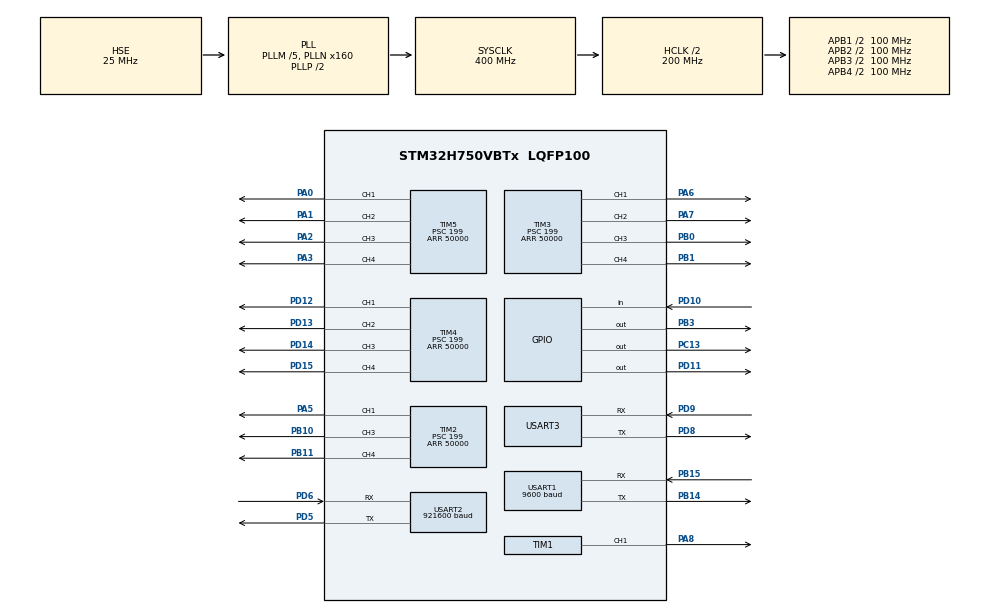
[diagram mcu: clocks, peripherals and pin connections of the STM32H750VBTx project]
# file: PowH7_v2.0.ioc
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VP_TIM5_VS_ClockSourceINT.Mode=Internal
Dma.USART1_TX.1.Polarity=HAL_DMAMUX_REQ_GEN_RISING
VP_SYS_VS_tim6.Mode=TIM6
NVIC.TIM6_DAC_IRQn=true\:0\:0\:false\:false\:true\:false\:false\:true
Dma.USART2_RX.2.SignalID=NONE
NVIC.DMA1_Stream2_IRQn=true\:5\:0\:false\:false\:true\:true\:false\:true
Dma.USART3_RX.3.SyncEnable=DISABLE
RCC.PLLFRACN=0
PA3.GPIO_Speed=GPIO_SPEED_FREQ_HIGH
PB3\ (JTDO/TRACESWO).GPIO_Speed=GPIO_SPEED_FREQ_HIGH
TIM3.Channel-PWM\ Generation4\ CH4=TIM_CHANNEL_4
RCC.SYSCLKSource=RCC_SYSCLKSOURCE_PLLCLK
PB11.GPIO_Speed=GPIO_SPEED_FREQ_HIGH
USART3.VirtualMode-Asynchronous=VM_ASYNC
PD14.GPIO_Speed=GPIO_SPEED_FREQ_HIGH
FREERTOS.configENABLE_FPU=1
PA14\ (JTCK/SWCLK).Signal=DEBUG_JTCK-SWCLK
Dma.USART3_RX.3.PeriphDataAlignment=DMA_PDATAALIGN_BYTE
TIM2.Pulse-PWM\ Generation3\ CH3=1500
TIM4.Pulse-PWM\ Generation1\ CH1=1500
Dma.USART2_RX.2.Priority=DMA_PRIORITY_LOW
PD8.Signal=USART3_TX
TIM5.Pulse-PWM\ Generation1\ CH1=1500
TIM3.Pulse-PWM\ Generation3\ CH3=1500
TIM4.Channel-PWM\ Generation3\ CH3=TIM_CHANNEL_3
RCC.DIVM3=25
RCC.DIVM1=5
Dma.USART2_RX.2.EventEnable=DISABLE
TIM1.Channel-PWM\ Generation1\ CH1=TIM_CHANNEL_1
PB1.GPIO_Speed=GPIO_SPEED_FREQ_HIGH
PB14.Mode=Asynchronous
PA5.GPIO_PuPd=GPIO_NOPULL
Dma.USART1_RX.0.SyncEnable=DISABLE
SH.S_TIM4_CH2.0=TIM4_CH2,PWM Generation2 CH2
Dma.USART3_RX.3.PeriphInc=DMA_PINC_DISABLE
PA8.Signal=S_TIM1_CH1
PA14\ (JTCK/SWCLK).Mode=Serial_Wire
TIM4.Period=50000
VP_FREERTOS_VS_CMSIS_V1.Mode=CMSIS_V1
Dma.USART3_TX.4.Direction=DMA_MEMORY_TO_PERIPH
VP_TIM1_VS_ClockSourceINT.Mode=Internal
PA0.Signal=S_TIM5_CH1
Mcu.Package=LQFP100
TIM2.Prescaler=199
PB1.Signal=S_TIM3_CH4
NVIC.TimeBase=TIM6_DAC_IRQn
RCC.PLL3FRACN=0
PD12.Signal=S_TIM4_CH1
NVIC.TimeBaseIP=TIM6
Dma.USART2_RX.2.Direction=DMA_PERIPH_TO_MEMORY
Dma.USART3_RX.3.MemInc=DMA_MINC_ENABLE
PC14-OSC32_IN\ (OSC32_IN).Mode=LSE-External-Oscillator
SH.S_TIM4_CH1.0=TIM4_CH1,PWM Generation1 CH1
RCC.APB4Freq_Value=100000000
TIM3.Pulse-PWM\ Generation2\ CH2=1500
TIM1.Period=50000
PA6.GPIO_Speed=GPIO_SPEED_FREQ_HIGH
NVIC.USART1_IRQn=true\:5\:0\:false\:false\:true\:true\:true\:true
TIM4.Channel-PWM\ Generation4\ CH4=TIM_CHANNEL_4
PH0-OSC_IN\ (PH0).Mode=HSE-External-Oscillator
PA8.GPIO_Speed=GPIO_SPEED_FREQ_HIGH
PD15.Signal=S_TIM4_CH4
TIM4.Pulse-PWM\ Generation2\ CH2=1500
Dma.USART3_TX.4.PeriphInc=DMA_PINC_DISABLE
Dma.USART3_TX.4.RequestNumber=1
TIM4.Pulse-PWM\ Generation3\ CH3=1500
TIM5.Pulse-PWM\ Generation2\ CH2=1500
FREERTOS.Tasks01=CtrlTask,0,128,CtrlTaskF,Default,NULL,Dynamic,NULL,NULL;SensorTask,0,128,SensorTaskF,Default,NULL,Dynamic,NULL,NULL;BasetoUpTask,0,128,BtUF,Default,NULL,Dynamic,NULL,NULL;EmptyTask,-3,128,EmptyTaskF,Default,NULL,Dynamic,NULL,NULL
Dma.USART3_TX.4.MemInc=DMA_MINC_ENABLE
PC13.Signal=GPIO_Output
TIM5.Channel-PWM\ Generation3\ CH3=TIM_CHANNEL_3
PD6.Mode=Asynchronous
USART2.BaudRate=921600
Dma.USART2_RX.2.Mode=DMA_NORMAL
Dma.USART1_TX.1.SyncSignalID=NONE
PA0.GPIO_Speed=GPIO_SPEED_FREQ_HIGH
PD10.Signal=GPIO_Input
TIM3.Channel-PWM\ Generation3\ CH3=TIM_CHANNEL_3
TIM3.Pulse-PWM\ Generation1\ CH1=1500
Dma.USART3_RX.3.SyncRequestNumber=1
Dma.USART1_RX.0.SyncRequestNumber=1
Dma.USART1_RX.0.Direction=DMA_PERIPH_TO_MEMORY
Dma.USART3_RX.3.FIFOMode=DMA_FIFOMODE_DISABLE
RCC.DIVN3=192
RCC.DIVN1=160
Dma.USART1_TX.1.SyncEnable=DISABLE
PD8.Mode=Asynchronous
Dma.USART1_RX.0.PeriphInc=DMA_PINC_DISABLE
PB10.Signal=S_TIM2_CH3
PB14.Signal=USART1_TX
PA5.Signal=S_TIM2_CH1
Dma.USART1_TX.1.MemDataAlignment=DMA_MDATAALIGN_BYTE
PA7.GPIO_Speed=GPIO_SPEED_FREQ_HIGH
TIM4.Pulse-PWM\ Generation4\ CH4=1500
Dma.USART1_RX.0.SyncPolarity=HAL_DMAMUX_SYNC_NO_EVENT
TIM2.Period=50000
Dma.USART1_RX.0.SyncSignalID=NONE
TIM5.Channel-PWM\ Generation2\ CH2=TIM_CHANNEL_2
PD11.Signal=GPIO_Output
Dma.USART1_TX.1.Mode=DMA_NORMAL
TIM5.Channel-PWM\ Generation1\ CH1=TIM_CHANNEL_1
ProjectManager.HeapSize=0x200
VP_TIM4_VS_ClockSourceINT.Mode=Internal
FREERTOS.Mutexes01=UptoBaseDataRWFlag,Dynamic,NULL;BasetoUpDataRWFlag,Dynamic,NULL;WT931SensorDataRWFlag,Dynamic,NULL;GY39SensorDataRWFlag,Dynamic,NULL
NVIC.PriorityGroup=NVIC_PRIORITYGROUP_4
RCC.USART234578CLockSelection=RCC_USART234578CLKSOURCE_PLL3
TIM3.Channel-PWM\ Generation2\ CH2=TIM_CHANNEL_2
TIM2.Pulse-PWM\ Generation4\ CH4=1500
Dma.USART2_RX.2.SyncEnable=DISABLE
PB0.Signal=S_TIM3_CH3
PA13\ (JTMS/SWDIO).Signal=DEBUG_JTMS-SWDIO
Dma.USART2_RX.2.RequestNumber=1
Mcu.Family=STM32H7
NVIC.USART3_IRQn=true\:5\:0\:false\:false\:true\:true\:true\:true
Dma.USART2_RX.2.PeriphDataAlignment=DMA_PDATAALIGN_BYTE
Dma.USART3_TX.4.SignalID=NONE
RCC.CortexFreq_Value=400000000
FREERTOS.BinarySemaphores01=UptoBaseTransFinish,Dynamic,NULL;WT931TransFinish,Dynamic,NULL;GY39TransFinish,Dynamic,NULL
Dma.USART3_TX.4.Priority=DMA_PRIORITY_LOW
PB10.GPIO_Speed=GPIO_SPEED_FREQ_HIGH
Dma.USART1_TX.1.MemInc=DMA_MINC_ENABLE
Dma.USART1_TX.1.SyncPolarity=HAL_DMAMUX_SYNC_NO_EVENT
RCC.HPRE=RCC_HCLK_DIV2
Dma.USART1_RX.0.EventEnable=DISABLE
PH0-OSC_IN\ (PH0).Signal=RCC_OSC_IN
Dma.USART2_RX.2.SyncSignalID=NONE
USART1.BaudRate=9600
PD15.GPIO_Speed=GPIO_SPEED_FREQ_HIGH
PC15-OSC32_OUT\ (OSC32_OUT).Mode=LSE-External-Oscillator
Dma.USART1_RX.0.SignalID=NONE
SH.S_TIM5_CH2.0=TIM5_CH2,PWM Generation2 CH2
PA2.GPIO_Speed=GPIO_SPEED_FREQ_HIGH
TIM5.Pulse-PWM\ Generation4\ CH4=1500
RCC.PLL2FRACN=0
TIM1.Pulse-PWM\ Generation1\ CH1=1500
PB11.Signal=S_TIM2_CH4
NVIC.DMA1_Stream4_IRQn=true\:5\:0\:false\:false\:true\:true\:false\:true
PB15.Signal=USART1_RX
PD9.Mode=Asynchronous
Dma.USART3_RX.3.Mode=DMA_NORMAL
ProjectManager.StackSize=0x400
Dma.USART3_RX.3.MemDataAlignment=DMA_MDATAALIGN_BYTE
VP_TIM7_VS_ClockSourceINT.Mode=Enable_Timer
PD13.Signal=S_TIM4_CH2
TIM1.Prescaler=199
RCC.HCLKFreq_Value=200000000
TIM3.Period=50000
Dma.USART3_TX.4.MemDataAlignment=DMA_MDATAALIGN_BYTE
SH.S_TIM5_CH3.0=TIM5_CH3,PWM Generation3 CH3
TIM7.Period=50000
Dma.USART2_RX.2.MemDataAlignment=DMA_MDATAALIGN_BYTE
Dma.USART1_RX.0.Priority=DMA_PRIORITY_LOW
PD5.Mode=Asynchronous
TIM3.Channel-PWM\ Generation1\ CH1=TIM_CHANNEL_1
Dma.USART3_TX.4.EventEnable=DISABLE
PH1-OSC_OUT\ (PH1).Mode=HSE-External-Oscillator
Dma.USART3_RX.3.Instance=DMA1_Stream3
USART2.VirtualMode-Asynchronous=VM_ASYNC
VP_IWDG1_VS_IWDG.Mode=IWDG_Activate
Dma.USART3_RX.3.Polarity=HAL_DMAMUX_REQ_GEN_RISING
TIM5.Channel-PWM\ Generation4\ CH4=TIM_CHANNEL_4
TIM3.Prescaler=199
TIM5.Pulse-PWM\ Generation3\ CH3=1500
PC13.GPIO_PuPd=GPIO_PULLUP
TIM2.Channel-PWM\ Generation1\ CH1=TIM_CHANNEL_1
SH.S_TIM3_CH1.0=TIM3_CH1,PWM Generation1 CH1
Dma.USART1_RX.0.MemInc=DMA_MINC_ENABLE
Dma.USART1_TX.1.PeriphDataAlignment=DMA_PDATAALIGN_BYTE
PB3\ (JTDO/TRACESWO).GPIO_PuPd=GPIO_NOPULL
RCC.APB3Freq_Value=100000000
Dma.USART1_TX.1.RequestNumber=1
PA6.Signal=S_TIM3_CH1
RCC.D1PPRE=RCC_APB3_DIV2
Dma.USART3_RX.3.SyncSignalID=NONE
Dma.USART2_RX.2.Polarity=HAL_DMAMUX_REQ_GEN_RISING
Dma.USART3_TX.4.Instance=DMA1_Stream4
Dma.USART1_TX.1.SignalID=NONE
Dma.USART1_RX.0.FIFOMode=DMA_FIFOMODE_DISABLE
Dma.Request2=USART2_RX
Dma.Request1=USART1_TX
Dma.Request4=USART3_TX
Dma.Request3=USART3_RX
Dma.USART1_RX.0.Mode=DMA_NORMAL
SH.S_TIM5_CH1.0=TIM5_CH1,PWM Generation1 CH1
Dma.USART1_TX.1.Priority=DMA_PRIORITY_LOW
NVIC.DMA1_Stream0_IRQn=true\:5\:0\:false\:false\:true\:true\:false\:true
Dma.USART3_TX.4.SyncEnable=DISABLE
PD6.Signal=USART2_RX
Dma.Request0=USART1_RX
Dma.USART1_RX.0.Instance=DMA1_Stream0
VP_TIM3_VS_ClockSourceINT.Mode=Internal
PC13.PinState=GPIO_PIN_RESET
PA3.Signal=S_TIM5_CH4
Dma.USART1_TX.1.Direction=DMA_MEMORY_TO_PERIPH
Dma.USART3_TX.4.FIFOMode=DMA_FIFOMODE_DISABLE
RCC.PLLSourceVirtual=RCC_PLLSOURCE_HSE
TIM4.Channel-PWM\ Generation1\ CH1=TIM_CHANNEL_1
Dma.USART1_TX.1.Instance=DMA1_Stream1
Dma.USART3_RX.3.Direction=DMA_PERIPH_TO_MEMORY
TIM2.Channel-PWM\ Generation4\ CH4=TIM_CHANNEL_4
SH.S_TIM2_CH1.0=TIM2_CH1,PWM Generation1 CH1
CORTEX_M7.CPU_ICache=Disabled
PD12.GPIO_Speed=GPIO_SPEED_FREQ_HIGH
PA13\ (JTMS/SWDIO).Mode=Serial_Wire
Dma.USART1_RX.0.PeriphDataAlignment=DMA_PDATAALIGN_BYTE
Dma.USART3_RX.3.SyncPolarity=HAL_DMAMUX_SYNC_NO_EVENT
SH.S_TIM4_CH4.0=TIM4_CH4,PWM Generation4 CH4
RCC.D2PPRE2=RCC_APB2_DIV2
RCC.D2PPRE1=RCC_APB1_DIV2
PD9.Signal=USART3_RX
PD5.Signal=USART2_TX
NVIC.DMA1_Stream1_IRQn=true\:5\:0\:false\:false\:true\:true\:false\:true
SH.S_TIM3_CH3.0=TIM3_CH3,PWM Generation3 CH3
Dma.USART1_RX.0.RequestNumber=1
Dma.USART1_RX.0.Polarity=HAL_DMAMUX_REQ_GEN_RISING
NVIC.USART2_IRQn=true\:5\:0\:false\:false\:true\:true\:true\:true
PH1-OSC_OUT\ (PH1).Signal=RCC_OSC_OUT
TIM2.Pulse-PWM\ Generation1\ CH1=1500
PB0.GPIO_Speed=GPIO_SPEED_FREQ_HIGH
Dma.USART2_RX.2.SyncPolarity=HAL_DMAMUX_SYNC_NO_EVENT
USART1.VirtualMode-Asynchronous=VM_ASYNC
Dma.USART2_RX.2.MemInc=DMA_MINC_ENABLE
SH.S_TIM1_CH1.0=TIM1_CH1,PWM Generation1 CH1
PB3\ (JTDO/TRACESWO).Signal=GPIO_Output
ProjectManager.TargetToolchain=STM32CubeIDE
PC15-OSC32_OUT\ (OSC32_OUT).Signal=RCC_OSC32_OUT
SH.S_TIM4_CH3.0=TIM4_CH3,PWM Generation3 CH3
Dma.USART1_TX.1.FIFOMode=DMA_FIFOMODE_DISABLE
RCC.USBFreq_Value=400000000
Dma.USART3_RX.3.EventEnable=DISABLE
TIM4.Prescaler=199
PA1.Signal=S_TIM5_CH2
SH.S_TIM3_CH2.0=TIM3_CH2,PWM Generation2 CH2
Dma.USART3_TX.4.PeriphDataAlignment=DMA_PDATAALIGN_BYTE
TIM7.Prescaler=399
board=custom
PD13.GPIO_Speed=GPIO_SPEED_FREQ_HIGH
PB15.Mode=Asynchronous
Dma.USART3_TX.4.SyncPolarity=HAL_DMAMUX_SYNC_NO_EVENT
Dma.USART2_RX.2.PeriphInc=DMA_PINC_DISABLE
TIM4.Channel-PWM\ Generation2\ CH2=TIM_CHANNEL_2
RCC.APB2Freq_Value=100000000
VP_TIM2_VS_ClockSourceINT.Mode=Internal
SH.S_TIM2_CH3.0=TIM2_CH3,PWM Generation3 CH3
PA1.GPIO_Speed=GPIO_SPEED_FREQ_HIGH
RCC.ADCFreq_Value=50390625
TIM2.Channel-PWM\ Generation3\ CH3=TIM_CHANNEL_3
Dma.USART3_RX.3.RequestNumber=1
Dma.USART1_RX.0.MemDataAlignment=DMA_MDATAALIGN_BYTE
SH.S_TIM5_CH4.0=TIM5_CH4,PWM Generation4 CH4
Dma.USART1_TX.1.SyncRequestNumber=1
Dma.USART2_RX.2.SyncRequestNumber=1
Mcu.Name=STM32H750VBTx
Dma.USART3_TX.4.SyncRequestNumber=1
PA2.Signal=S_TIM5_CH3
PD14.Signal=S_TIM4_CH3
RCC.SYSCLKFreq_VALUE=400000000
Dma.USART3_TX.4.Mode=DMA_NORMAL
TIM5.Prescaler=199
PC14-OSC32_IN\ (OSC32_IN).Signal=RCC_OSC32_IN
Dma.USART2_RX.2.Instance=DMA1_Stream2
Dma.USART3_TX.4.SyncSignalID=NONE
Dma.USART3_RX.3.SignalID=NONE
Dma.USART1_TX.1.PeriphInc=DMA_PINC_DISABLE
SH.S_TIM2_CH4.0=TIM2_CH4,PWM Generation4 CH4
PA5.GPIO_Speed=GPIO_SPEED_FREQ_HIGH
Dma.USART3_TX.4.Polarity=HAL_DMAMUX_REQ_GEN_RISING
Dma.USART1_TX.1.EventEnable=DISABLE
Dma.USART3_RX.3.Priority=DMA_PRIORITY_LOW
NVIC.DMA1_Stream3_IRQn=true\:5\:0\:false\:false\:true\:true\:false\:true
RCC.D3PPRE=RCC_APB4_DIV2
TIM5.Period=50000
Dma.USART2_RX.2.FIFOMode=DMA_FIFOMODE_DISABLE
RCC.APB1Freq_Value=100000000
TIM3.Pulse-PWM\ Generation4\ CH4=1500
RCC.USART16CLockSelection=RCC_USART16CLKSOURCE_PLL3
SH.S_TIM3_CH4.0=TIM3_CH4,PWM Generation4 CH4
PA7.Signal=S_TIM3_CH2

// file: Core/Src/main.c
/* USER CODE BEGIN Header */
/**
 ******************************************************************************
 * @file           : main.c
 * @brief          : Main program body
 ******************************************************************************
 * @attention
 *
 * <h2><center>&copy; Copyright (c) 2021 STMicroelectronics.
 * All rights reserved.</center></h2>
 *
 * This software component is licensed by ST under BSD 3-Clause license,
 * the "License"; You may not use this file except in compliance with the
 * License. You may obtain a copy of the License at:
 *                        opensource.org/licenses/BSD-3-Clause
 *
 ******************************************************************************
 */
/* USER CODE END Header */
#include "main.h"
#include "cmsis_os.h"

/* USER CODE BEGIN Includes */
#include "BasicCtrl.h"
#include "Sensor.h"
/* USER CODE END Includes */

IWDG_HandleTypeDef hiwdg1;

TIM_HandleTypeDef htim1;
TIM_HandleTypeDef htim2;
TIM_HandleTypeDef htim3;
TIM_HandleTypeDef htim4;
TIM_HandleTypeDef htim5;
TIM_HandleTypeDef htim7;

UART_HandleTypeDef huart1;
UART_HandleTypeDef huart2;
UART_HandleTypeDef huart3;
DMA_HandleTypeDef hdma_usart1_rx;
DMA_HandleTypeDef hdma_usart1_tx;
DMA_HandleTypeDef hdma_usart2_rx;
DMA_HandleTypeDef hdma_usart3_rx;
DMA_HandleTypeDef hdma_usart3_tx;

osThreadId CtrlTaskHandle;
osThreadId SensorTaskHandle;
osThreadId BasetoUpTaskHandle;
osThreadId EmptyTaskHandle;
osMutexId UptoBaseDataRWFlagHandle;
osMutexId BasetoUpDataRWFlagHandle;
osMutexId WT931SensorDataRWFlagHandle;
osMutexId GY39SensorDataRWFlagHandle;
osSemaphoreId UptoBaseTransFinishHandle;
osSemaphoreId WT931TransFinishHandle;
osSemaphoreId GY39TransFinishHandle;
/* USER CODE BEGIN PV */
WT931Data WT931SensorData;
GY39Data GY39SensorData;
/* USER CODE END PV */

void SystemClock_Config(void);
void PeriphCommonClock_Config(void);
static void MX_GPIO_Init(void);
static void MX_DMA_Init(void);
static void MX_IWDG1_Init(void);
static void MX_TIM2_Init(void);
static void MX_TIM3_Init(void);
static void MX_TIM4_Init(void);
static void MX_TIM5_Init(void);
static void MX_USART1_UART_Init(void);
static void MX_USART2_UART_Init(void);
static void MX_USART3_UART_Init(void);
static void MX_TIM1_Init(void);
static void MX_TIM7_Init(void);
void CtrlTaskF(void const *argument);
void SensorTaskF(void const *argument);
void BtUF(void const *argument);
void EmptyTaskF(void const *argument);

/* USER CODE BEGIN PFP */
//void MotorAdjusterDelay(void);
///**
// * 软件PWM，可用于控制灯光PB3
// * 只开启时基单元即�????????
// * 频率�????????1kHz
// */
//void SoftwarePwm_Init(TIM_HandleTypeDef *htimx, uint16_t psr, uint16_t arr)
//{
//	/* 设置定时�???????? */
//	/* 调节定时器分频系数和预装载寄存器�???????? */
////	htimx->Instance->PSC = psr;
////	htimx->Instance->ARR = arr;
//	/* 设置软件比较�???????? */
//	SoftwarePwm_Control();
//
//	/* �????????启定时器及中�???????? */
////	HAL_TIM_PWM_Start();
//}
/**
 *	在主程序中轮询本函数来实现PWM输出
 */
void SoftwarePwm_Control(volatile uint32_t count)
{
	/* 判断计时值和设定阈�?�的大小 */
	if (htim7.Instance->CNT > count)
	{
		/* GPIO有输�???????? */
		HAL_GPIO_WritePin(GPIOB, GPIO_PIN_3, GPIO_PIN_SET);
	}
	else
	{
		/* GPIO无输�???????? */
		HAL_GPIO_WritePin(GPIOB, GPIO_PIN_3, GPIO_PIN_RESET);
	}
}
/* USER CODE END PFP */

int main(void)
{

	/* MCU Configuration--------------------------------------------------------*/

	/* Reset of all peripherals, Initializes the Flash interface and the Systick. */
	HAL_Init();

	/* Configure the system clock */
	SystemClock_Config();

	/* Configure the peripherals common clocks */
	PeriphCommonClock_Config();

	/* Initialize all configured peripherals */
	MX_GPIO_Init();
	MX_DMA_Init();
	MX_IWDG1_Init();
	MX_TIM2_Init();
	MX_TIM3_Init();
	MX_TIM4_Init();
	MX_TIM5_Init();
	MX_USART1_UART_Init();
	MX_USART2_UART_Init();
	MX_USART3_UART_Init();
	MX_TIM1_Init();
	MX_TIM7_Init();
	/* USER CODE BEGIN 2 */
	HAL_IWDG_Refresh(&hiwdg1);
	//继电器初始化
	HAL_GPIO_WritePin(GPIOD, GPIO_PIN_11, GPIO_PIN_RESET);
	//PWM初始�?????????????
	HAL_TIM_PWM_Start(&htim1, TIM_CHANNEL_1);
	HAL_TIM_PWM_Start(&htim2, TIM_CHANNEL_1);
//	HAL_TIM_PWM_Start(&htim2, TIM_CHANNEL_2);
	__HAL_TIM_ENABLE(&htim7);
	HAL_GPIO_WritePin(GPIOB, GPIO_PIN_3, GPIO_PIN_RESET);

	HAL_TIM_PWM_Start(&htim2, TIM_CHANNEL_3);
	HAL_TIM_PWM_Start(&htim2, TIM_CHANNEL_4);
	HAL_TIM_PWM_Start(&htim3, TIM_CHANNEL_1);
	HAL_TIM_PWM_Start(&htim3, TIM_CHANNEL_2);
	HAL_TIM_PWM_Start(&htim3, TIM_CHANNEL_3);
	HAL_TIM_PWM_Start(&htim3, TIM_CHANNEL_4);
	HAL_TIM_PWM_Start(&htim4, TIM_CHANNEL_1);
	HAL_TIM_PWM_Start(&htim4, TIM_CHANNEL_2);
	HAL_TIM_PWM_Start(&htim4, TIM_CHANNEL_3);
	HAL_TIM_PWM_Start(&htim4, TIM_CHANNEL_4);
	HAL_TIM_PWM_Start(&htim5, TIM_CHANNEL_1);
	HAL_TIM_PWM_Start(&htim5, TIM_CHANNEL_2);
	HAL_TIM_PWM_Start(&htim5, TIM_CHANNEL_3);
	HAL_TIM_PWM_Start(&htim5, TIM_CHANNEL_4);

	HAL_IWDG_Refresh(&hiwdg1);
	/* USER CODE END 2 */

	/* Create the mutex(es) */
	/* definition and creation of UptoBaseDataRWFlag */
	osMutexDef(UptoBaseDataRWFlag);
	UptoBaseDataRWFlagHandle = osMutexCreate(osMutex(UptoBaseDataRWFlag));

	/* definition and creation of BasetoUpDataRWFlag */
	osMutexDef(BasetoUpDataRWFlag);
	BasetoUpDataRWFlagHandle = osMutexCreate(osMutex(BasetoUpDataRWFlag));

	/* definition and creation of WT931SensorDataRWFlag */
	osMutexDef(WT931SensorDataRWFlag);
	WT931SensorDataRWFlagHandle = osMutexCreate(osMutex(WT931SensorDataRWFlag));

	/* definition and creation of GY39SensorDataRWFlag */
	osMutexDef(GY39SensorDataRWFlag);
	GY39SensorDataRWFlagHandle = osMutexCreate(osMutex(GY39SensorDataRWFlag));

	/* Create the semaphores(s) */
	/* definition and creation of UptoBaseTransFinish */
	osSemaphoreDef(UptoBaseTransFinish);
	UptoBaseTransFinishHandle = osSemaphoreCreate(
			osSemaphore(UptoBaseTransFinish), 1);

	/* definition and creation of WT931TransFinish */
	osSemaphoreDef(WT931TransFinish);
	WT931TransFinishHandle = osSemaphoreCreate(osSemaphore(WT931TransFinish),
			1);

	/* definition and creation of GY39TransFinish */
	osSemaphoreDef(GY39TransFinish);
	GY39TransFinishHandle = osSemaphoreCreate(osSemaphore(GY39TransFinish), 1);

	/* Create the thread(s) */
	/* definition and creation of CtrlTask */
	osThreadDef(CtrlTask, CtrlTaskF, osPriorityNormal, 0, 128);
	CtrlTaskHandle = osThreadCreate(osThread(CtrlTask), NULL);

	/* definition and creation of SensorTask */
	osThreadDef(SensorTask, SensorTaskF, osPriorityNormal, 0, 128);
	SensorTaskHandle = osThreadCreate(osThread(SensorTask), NULL);

	/* definition and creation of BasetoUpTask */
	osThreadDef(BasetoUpTask, BtUF, osPriorityNormal, 0, 128);
	BasetoUpTaskHandle = osThreadCreate(osThread(BasetoUpTask), NULL);

	/* definition and creation of EmptyTask */
	osThreadDef(EmptyTask, EmptyTaskF, osPriorityIdle, 0, 128);
	EmptyTaskHandle = osThreadCreate(osThread(EmptyTask), NULL);

	/* Start scheduler */
	osKernelStart();

	/* We should never get here as control is now taken by the scheduler */
	/* Infinite loop */
	while (1)
	{

	}
}

void SystemClock_Config(void)
{
	RCC_OscInitTypeDef RCC_OscInitStruct =
	{ 0 };
	RCC_ClkInitTypeDef RCC_ClkInitStruct =
	{ 0 };

	/** Supply configuration update enable
	 */
	HAL_PWREx_ConfigSupply(PWR_LDO_SUPPLY);
	/** Configure the main internal regulator output voltage
	 */
	__HAL_PWR_VOLTAGESCALING_CONFIG(PWR_REGULATOR_VOLTAGE_SCALE1);

	while (!__HAL_PWR_GET_FLAG(PWR_FLAG_VOSRDY))
	{
	}
	/** Macro to configure the PLL clock source
	 */
	__HAL_RCC_PLL_PLLSOURCE_CONFIG(RCC_PLLSOURCE_HSE);
	/** Initializes the RCC Oscillators according to the specified parameters
	 * in the RCC_OscInitTypeDef structure.
	 */
	RCC_OscInitStruct.OscillatorType = RCC_OSCILLATORTYPE_LSI
			| RCC_OSCILLATORTYPE_HSE;
	RCC_OscInitStruct.HSEState = RCC_HSE_ON;
	RCC_OscInitStruct.LSIState = RCC_LSI_ON;
	RCC_OscInitStruct.PLL.PLLState = RCC_PLL_ON;
	RCC_OscInitStruct.PLL.PLLSource = RCC_PLLSOURCE_HSE;
	RCC_OscInitStruct.PLL.PLLM = 5;
	RCC_OscInitStruct.PLL.PLLN = 160;
	RCC_OscInitStruct.PLL.PLLP = 2;
	RCC_OscInitStruct.PLL.PLLQ = 2;
	RCC_OscInitStruct.PLL.PLLR = 2;
	RCC_OscInitStruct.PLL.PLLRGE = RCC_PLL1VCIRANGE_2;
	RCC_OscInitStruct.PLL.PLLVCOSEL = RCC_PLL1VCOWIDE;
	RCC_OscInitStruct.PLL.PLLFRACN = 0;
	if (HAL_RCC_OscConfig(&RCC_OscInitStruct) != HAL_OK)
	{
		Error_Handler();
	}
	/** Initializes the CPU, AHB and APB buses clocks
	 */
	RCC_ClkInitStruct.ClockType = RCC_CLOCKTYPE_HCLK | RCC_CLOCKTYPE_SYSCLK
			| RCC_CLOCKTYPE_PCLK1 | RCC_CLOCKTYPE_PCLK2 | RCC_CLOCKTYPE_D3PCLK1
			| RCC_CLOCKTYPE_D1PCLK1;
	RCC_ClkInitStruct.SYSCLKSource = RCC_SYSCLKSOURCE_PLLCLK;
	RCC_ClkInitStruct.SYSCLKDivider = RCC_SYSCLK_DIV1;
	RCC_ClkInitStruct.AHBCLKDivider = RCC_HCLK_DIV2;
	RCC_ClkInitStruct.APB3CLKDivider = RCC_APB3_DIV2;
	RCC_ClkInitStruct.APB1CLKDivider = RCC_APB1_DIV2;
	RCC_ClkInitStruct.APB2CLKDivider = RCC_APB2_DIV2;
	RCC_ClkInitStruct.APB4CLKDivider = RCC_APB4_DIV2;

	if (HAL_RCC_ClockConfig(&RCC_ClkInitStruct, FLASH_LATENCY_2) != HAL_OK)
	{
		Error_Handler();
	}
}

void PeriphCommonClock_Config(void)
{
	RCC_PeriphCLKInitTypeDef PeriphClkInitStruct =
	{ 0 };

	/** Initializes the peripherals clock
	 */
	PeriphClkInitStruct.PeriphClockSelection = RCC_PERIPHCLK_USART1
			| RCC_PERIPHCLK_USART2 | RCC_PERIPHCLK_USART3;
	PeriphClkInitStruct.PLL3.PLL3M = 25;
	PeriphClkInitStruct.PLL3.PLL3N = 192;
	PeriphClkInitStruct.PLL3.PLL3P = 2;
	PeriphClkInitStruct.PLL3.PLL3Q = 2;
	PeriphClkInitStruct.PLL3.PLL3R = 2;
	PeriphClkInitStruct.PLL3.PLL3RGE = RCC_PLL3VCIRANGE_0;
	PeriphClkInitStruct.PLL3.PLL3VCOSEL = RCC_PLL3VCOWIDE;
	PeriphClkInitStruct.PLL3.PLL3FRACN = 0;
	PeriphClkInitStruct.Usart234578ClockSelection =
	RCC_USART234578CLKSOURCE_PLL3;
	PeriphClkInitStruct.Usart16ClockSelection = RCC_USART16CLKSOURCE_PLL3;
	if (HAL_RCCEx_PeriphCLKConfig(&PeriphClkInitStruct) != HAL_OK)
	{
		Error_Handler();
	}
}

static void MX_IWDG1_Init(void)
{

	hiwdg1.Instance = IWDG1;
	hiwdg1.Init.Prescaler = IWDG_PRESCALER_4;
	hiwdg1.Init.Window = 4095;
	hiwdg1.Init.Reload = 4095;
	if (HAL_IWDG_Init(&hiwdg1) != HAL_OK)
	{
		Error_Handler();
	}

}

static void MX_TIM1_Init(void)
{

	TIM_ClockConfigTypeDef sClockSourceConfig =
	{ 0 };
	TIM_MasterConfigTypeDef sMasterConfig =
	{ 0 };
	TIM_OC_InitTypeDef sConfigOC =
	{ 0 };
	TIM_BreakDeadTimeConfigTypeDef sBreakDeadTimeConfig =
	{ 0 };

	htim1.Instance = TIM1;
	htim1.Init.Prescaler = 199;
	htim1.Init.CounterMode = TIM_COUNTERMODE_UP;
	htim1.Init.Period = 50000;
	htim1.Init.ClockDivision = TIM_CLOCKDIVISION_DIV1;
	htim1.Init.RepetitionCounter = 0;
	htim1.Init.AutoReloadPreload = TIM_AUTORELOAD_PRELOAD_DISABLE;
	if (HAL_TIM_Base_Init(&htim1) != HAL_OK)
	{
		Error_Handler();
	}
	sClockSourceConfig.ClockSource = TIM_CLOCKSOURCE_INTERNAL;
	if (HAL_TIM_ConfigClockSource(&htim1, &sClockSourceConfig) != HAL_OK)
	{
		Error_Handler();
	}
	if (HAL_TIM_PWM_Init(&htim1) != HAL_OK)
	{
		Error_Handler();
	}
	sMasterConfig.MasterOutputTrigger = TIM_TRGO_RESET;
	sMasterConfig.MasterOutputTrigger2 = TIM_TRGO2_RESET;
	sMasterConfig.MasterSlaveMode = TIM_MASTERSLAVEMODE_DISABLE;
	if (HAL_TIMEx_MasterConfigSynchronization(&htim1, &sMasterConfig) != HAL_OK)
	{
		Error_Handler();
	}
	sConfigOC.OCMode = TIM_OCMODE_PWM1;
	sConfigOC.Pulse = 1500;
	sConfigOC.OCPolarity = TIM_OCPOLARITY_HIGH;
	sConfigOC.OCNPolarity = TIM_OCNPOLARITY_HIGH;
	sConfigOC.OCFastMode = TIM_OCFAST_DISABLE;
	sConfigOC.OCIdleState = TIM_OCIDLESTATE_RESET;
	sConfigOC.OCNIdleState = TIM_OCNIDLESTATE_RESET;
	if (HAL_TIM_PWM_ConfigChannel(&htim1, &sConfigOC, TIM_CHANNEL_1) != HAL_OK)
	{
		Error_Handler();
	}
	sBreakDeadTimeConfig.OffStateRunMode = TIM_OSSR_DISABLE;
	sBreakDeadTimeConfig.OffStateIDLEMode = TIM_OSSI_DISABLE;
	sBreakDeadTimeConfig.LockLevel = TIM_LOCKLEVEL_OFF;
	sBreakDeadTimeConfig.DeadTime = 0;
	sBreakDeadTimeConfig.BreakState = TIM_BREAK_DISABLE;
	sBreakDeadTimeConfig.BreakPolarity = TIM_BREAKPOLARITY_HIGH;
	sBreakDeadTimeConfig.BreakFilter = 0;
	sBreakDeadTimeConfig.Break2State = TIM_BREAK2_DISABLE;
	sBreakDeadTimeConfig.Break2Polarity = TIM_BREAK2POLARITY_HIGH;
	sBreakDeadTimeConfig.Break2Filter = 0;
	sBreakDeadTimeConfig.AutomaticOutput = TIM_AUTOMATICOUTPUT_DISABLE;
	if (HAL_TIMEx_ConfigBreakDeadTime(&htim1, &sBreakDeadTimeConfig) != HAL_OK)
	{
		Error_Handler();
	}
	HAL_TIM_MspPostInit(&htim1);

}

static void MX_TIM2_Init(void)
{

	TIM_ClockConfigTypeDef sClockSourceConfig =
	{ 0 };
	TIM_MasterConfigTypeDef sMasterConfig =
	{ 0 };
	TIM_OC_InitTypeDef sConfigOC =
	{ 0 };

	htim2.Instance = TIM2;
	htim2.Init.Prescaler = 199;
	htim2.Init.CounterMode = TIM_COUNTERMODE_UP;
	htim2.Init.Period = 50000;
	htim2.Init.ClockDivision = TIM_CLOCKDIVISION_DIV1;
	htim2.Init.AutoReloadPreload = TIM_AUTORELOAD_PRELOAD_DISABLE;
	if (HAL_TIM_Base_Init(&htim2) != HAL_OK)
	{
		Error_Handler();
	}
	sClockSourceConfig.ClockSource = TIM_CLOCKSOURCE_INTERNAL;
	if (HAL_TIM_ConfigClockSource(&htim2, &sClockSourceConfig) != HAL_OK)
	{
		Error_Handler();
	}
	if (HAL_TIM_PWM_Init(&htim2) != HAL_OK)
	{
		Error_Handler();
	}
	sMasterConfig.MasterOutputTrigger = TIM_TRGO_RESET;
	sMasterConfig.MasterSlaveMode = TIM_MASTERSLAVEMODE_DISABLE;
	if (HAL_TIMEx_MasterConfigSynchronization(&htim2, &sMasterConfig) != HAL_OK)
	{
		Error_Handler();
	}
	sConfigOC.OCMode = TIM_OCMODE_PWM1;
	sConfigOC.Pulse = 1500;
	sConfigOC.OCPolarity = TIM_OCPOLARITY_HIGH;
	sConfigOC.OCFastMode = TIM_OCFAST_DISABLE;
	if (HAL_TIM_PWM_ConfigChannel(&htim2, &sConfigOC, TIM_CHANNEL_1) != HAL_OK)
	{
		Error_Handler();
	}
	if (HAL_TIM_PWM_ConfigChannel(&htim2, &sConfigOC, TIM_CHANNEL_3) != HAL_OK)
	{
		Error_Handler();
	}
	if (HAL_TIM_PWM_ConfigChannel(&htim2, &sConfigOC, TIM_CHANNEL_4) != HAL_OK)
	{
		Error_Handler();
	}
	HAL_TIM_MspPostInit(&htim2);

}

static void MX_TIM3_Init(void)
{

	TIM_ClockConfigTypeDef sClockSourceConfig =
	{ 0 };
	TIM_MasterConfigTypeDef sMasterConfig =
	{ 0 };
	TIM_OC_InitTypeDef sConfigOC =
	{ 0 };

	htim3.Instance = TIM3;
	htim3.Init.Prescaler = 199;
	htim3.Init.CounterMode = TIM_COUNTERMODE_UP;
	htim3.Init.Period = 50000;
	htim3.Init.ClockDivision = TIM_CLOCKDIVISION_DIV1;
	htim3.Init.AutoReloadPreload = TIM_AUTORELOAD_PRELOAD_DISABLE;
	if (HAL_TIM_Base_Init(&htim3) != HAL_OK)
	{
		Error_Handler();
	}
	sClockSourceConfig.ClockSource = TIM_CLOCKSOURCE_INTERNAL;
	if (HAL_TIM_ConfigClockSource(&htim3, &sClockSourceConfig) != HAL_OK)
	{
		Error_Handler();
	}
	if (HAL_TIM_PWM_Init(&htim3) != HAL_OK)
	{
		Error_Handler();
	}
	sMasterConfig.MasterOutputTrigger = TIM_TRGO_RESET;
	sMasterConfig.MasterSlaveMode = TIM_MASTERSLAVEMODE_DISABLE;
	if (HAL_TIMEx_MasterConfigSynchronization(&htim3, &sMasterConfig) != HAL_OK)
	{
		Error_Handler();
	}
	sConfigOC.OCMode = TIM_OCMODE_PWM1;
	sConfigOC.Pulse = 1500;
	sConfigOC.OCPolarity = TIM_OCPOLARITY_HIGH;
	sConfigOC.OCFastMode = TIM_OCFAST_DISABLE;
	if (HAL_TIM_PWM_ConfigChannel(&htim3, &sConfigOC, TIM_CHANNEL_1) != HAL_OK)
	{
		Error_Handler();
	}
	if (HAL_TIM_PWM_ConfigChannel(&htim3, &sConfigOC, TIM_CHANNEL_2) != HAL_OK)
	{
		Error_Handler();
	}
	if (HAL_TIM_PWM_ConfigChannel(&htim3, &sConfigOC, TIM_CHANNEL_3) != HAL_OK)
	{
		Error_Handler();
	}
	if (HAL_TIM_PWM_ConfigChannel(&htim3, &sConfigOC, TIM_CHANNEL_4) != HAL_OK)
	{
		Error_Handler();
	}
	HAL_TIM_MspPostInit(&htim3);

}

static void MX_TIM4_Init(void)
{

	TIM_ClockConfigTypeDef sClockSourceConfig =
	{ 0 };
	TIM_MasterConfigTypeDef sMasterConfig =
	{ 0 };
	TIM_OC_InitTypeDef sConfigOC =
	{ 0 };

	htim4.Instance = TIM4;
	htim4.Init.Prescaler = 199;
	htim4.Init.CounterMode = TIM_COUNTERMODE_UP;
	htim4.Init.Period = 50000;
	htim4.Init.ClockDivision = TIM_CLOCKDIVISION_DIV1;
	htim4.Init.AutoReloadPreload = TIM_AUTORELOAD_PRELOAD_DISABLE;
	if (HAL_TIM_Base_Init(&htim4) != HAL_OK)
	{
		Error_Handler();
	}
	sClockSourceConfig.ClockSource = TIM_CLOCKSOURCE_INTERNAL;
	if (HAL_TIM_ConfigClockSource(&htim4, &sClockSourceConfig) != HAL_OK)
	{
		Error_Handler();
	}
	if (HAL_TIM_PWM_Init(&htim4) != HAL_OK)
	{
		Error_Handler();
	}
	sMasterConfig.MasterOutputTrigger = TIM_TRGO_RESET;
	sMasterConfig.MasterSlaveMode = TIM_MASTERSLAVEMODE_DISABLE;
	if (HAL_TIMEx_MasterConfigSynchronization(&htim4, &sMasterConfig) != HAL_OK)
	{
		Error_Handler();
	}
	sConfigOC.OCMode = TIM_OCMODE_PWM1;
	sConfigOC.Pulse = 1500;
	sConfigOC.OCPolarity = TIM_OCPOLARITY_HIGH;
	sConfigOC.OCFastMode = TIM_OCFAST_DISABLE;
	if (HAL_TIM_PWM_ConfigChannel(&htim4, &sConfigOC, TIM_CHANNEL_1) != HAL_OK)
	{
		Error_Handler();
	}
	if (HAL_TIM_PWM_ConfigChannel(&htim4, &sConfigOC, TIM_CHANNEL_2) != HAL_OK)
	{
		Error_Handler();
	}
	if (HAL_TIM_PWM_ConfigChannel(&htim4, &sConfigOC, TIM_CHANNEL_3) != HAL_OK)
	{
		Error_Handler();
	}
	if (HAL_TIM_PWM_ConfigChannel(&htim4, &sConfigOC, TIM_CHANNEL_4) != HAL_OK)
	{
		Error_Handler();
	}
	HAL_TIM_MspPostInit(&htim4);

}

static void MX_TIM5_Init(void)
{

	TIM_ClockConfigTypeDef sClockSourceConfig =
	{ 0 };
	TIM_MasterConfigTypeDef sMasterConfig =
	{ 0 };
	TIM_OC_InitTypeDef sConfigOC =
	{ 0 };

	htim5.Instance = TIM5;
	htim5.Init.Prescaler = 199;
	htim5.Init.CounterMode = TIM_COUNTERMODE_UP;
	htim5.Init.Period = 50000;
	htim5.Init.ClockDivision = TIM_CLOCKDIVISION_DIV1;
	htim5.Init.AutoReloadPreload = TIM_AUTORELOAD_PRELOAD_DISABLE;
	if (HAL_TIM_Base_Init(&htim5) != HAL_OK)
	{
		Error_Handler();
	}
	sClockSourceConfig.ClockSource = TIM_CLOCKSOURCE_INTERNAL;
	if (HAL_TIM_ConfigClockSource(&htim5, &sClockSourceConfig) != HAL_OK)
	{
		Error_Handler();
	}
	if (HAL_TIM_PWM_Init(&htim5) != HAL_OK)
	{
		Error_Handler();
	}
	sMasterConfig.MasterOutputTrigger = TIM_TRGO_RESET;
	sMasterConfig.MasterSlaveMode = TIM_MASTERSLAVEMODE_DISABLE;
	if (HAL_TIMEx_MasterConfigSynchronization(&htim5, &sMasterConfig) != HAL_OK)
	{
		Error_Handler();
	}
	sConfigOC.OCMode = TIM_OCMODE_PWM1;
	sConfigOC.Pulse = 1500;
	sConfigOC.OCPolarity = TIM_OCPOLARITY_HIGH;
	sConfigOC.OCFastMode = TIM_OCFAST_DISABLE;
	if (HAL_TIM_PWM_ConfigChannel(&htim5, &sConfigOC, TIM_CHANNEL_1) != HAL_OK)
	{
		Error_Handler();
	}
	if (HAL_TIM_PWM_ConfigChannel(&htim5, &sConfigOC, TIM_CHANNEL_2) != HAL_OK)
	{
		Error_Handler();
	}
	if (HAL_TIM_PWM_ConfigChannel(&htim5, &sConfigOC, TIM_CHANNEL_3) != HAL_OK)
	{
		Error_Handler();
	}
	if (HAL_TIM_PWM_ConfigChannel(&htim5, &sConfigOC, TIM_CHANNEL_4) != HAL_OK)
	{
		Error_Handler();
	}
	HAL_TIM_MspPostInit(&htim5);

}

static void MX_TIM7_Init(void)
{

	TIM_MasterConfigTypeDef sMasterConfig =
	{ 0 };

	htim7.Instance = TIM7;
	htim7.Init.Prescaler = 399;
	htim7.Init.CounterMode = TIM_COUNTERMODE_UP;
	htim7.Init.Period = 50000;
	htim7.Init.AutoReloadPreload = TIM_AUTORELOAD_PRELOAD_DISABLE;
	if (HAL_TIM_Base_Init(&htim7) != HAL_OK)
	{
		Error_Handler();
	}
	sMasterConfig.MasterOutputTrigger = TIM_TRGO_RESET;
	sMasterConfig.MasterSlaveMode = TIM_MASTERSLAVEMODE_DISABLE;
	if (HAL_TIMEx_MasterConfigSynchronization(&htim7, &sMasterConfig) != HAL_OK)
	{
		Error_Handler();
	}

}

static void MX_USART1_UART_Init(void)
{

	huart1.Instance = USART1;
	huart1.Init.BaudRate = 9600;
	huart1.Init.WordLength = UART_WORDLENGTH_8B;
	huart1.Init.StopBits = UART_STOPBITS_1;
	huart1.Init.Parity = UART_PARITY_NONE;
	huart1.Init.Mode = UART_MODE_TX_RX;
	huart1.Init.HwFlowCtl = UART_HWCONTROL_NONE;
	huart1.Init.OverSampling = UART_OVERSAMPLING_16;
	huart1.Init.OneBitSampling = UART_ONE_BIT_SAMPLE_DISABLE;
	huart1.Init.ClockPrescaler = UART_PRESCALER_DIV1;
	huart1.AdvancedInit.AdvFeatureInit = UART_ADVFEATURE_NO_INIT;
	if (HAL_UART_Init(&huart1) != HAL_OK)
	{
		Error_Handler();
	}
	if (HAL_UARTEx_SetTxFifoThreshold(&huart1, UART_TXFIFO_THRESHOLD_1_8)
			!= HAL_OK)
	{
		Error_Handler();
	}
	if (HAL_UARTEx_SetRxFifoThreshold(&huart1, UART_RXFIFO_THRESHOLD_1_8)
			!= HAL_OK)
	{
		Error_Handler();
	}
	if (HAL_UARTEx_DisableFifoMode(&huart1) != HAL_OK)
	{
		Error_Handler();
	}

}

static void MX_USART2_UART_Init(void)
{

	huart2.Instance = USART2;
	huart2.Init.BaudRate = 921600;
	huart2.Init.WordLength = UART_WORDLENGTH_8B;
	huart2.Init.StopBits = UART_STOPBITS_1;
	huart2.Init.Parity = UART_PARITY_NONE;
	huart2.Init.Mode = UART_MODE_TX_RX;
	huart2.Init.HwFlowCtl = UART_HWCONTROL_NONE;
	huart2.Init.OverSampling = UART_OVERSAMPLING_16;
	huart2.Init.OneBitSampling = UART_ONE_BIT_SAMPLE_DISABLE;
	huart2.Init.ClockPrescaler = UART_PRESCALER_DIV1;
	huart2.AdvancedInit.AdvFeatureInit = UART_ADVFEATURE_NO_INIT;
	if (HAL_UART_Init(&huart2) != HAL_OK)
	{
		Error_Handler();
	}
	if (HAL_UARTEx_SetTxFifoThreshold(&huart2, UART_TXFIFO_THRESHOLD_1_8)
			!= HAL_OK)
	{
		Error_Handler();
	}
	if (HAL_UARTEx_SetRxFifoThreshold(&huart2, UART_RXFIFO_THRESHOLD_1_8)
			!= HAL_OK)
	{
		Error_Handler();
	}
	if (HAL_UARTEx_DisableFifoMode(&huart2) != HAL_OK)
	{
		Error_Handler();
	}

}

static void MX_USART3_UART_Init(void)
{

	huart3.Instance = USART3;
	huart3.Init.BaudRate = 115200;
	huart3.Init.WordLength = UART_WORDLENGTH_8B;
	huart3.Init.StopBits = UART_STOPBITS_1;
	huart3.Init.Parity = UART_PARITY_NONE;
	huart3.Init.Mode = UART_MODE_TX_RX;
	huart3.Init.HwFlowCtl = UART_HWCONTROL_NONE;
	huart3.Init.OverSampling = UART_OVERSAMPLING_16;
	huart3.Init.OneBitSampling = UART_ONE_BIT_SAMPLE_DISABLE;
	huart3.Init.ClockPrescaler = UART_PRESCALER_DIV1;
	huart3.AdvancedInit.AdvFeatureInit = UART_ADVFEATURE_NO_INIT;
	if (HAL_UART_Init(&huart3) != HAL_OK)
	{
		Error_Handler();
	}
	if (HAL_UARTEx_SetTxFifoThreshold(&huart3, UART_TXFIFO_THRESHOLD_1_8)
			!= HAL_OK)
	{
		Error_Handler();
	}
	if (HAL_UARTEx_SetRxFifoThreshold(&huart3, UART_RXFIFO_THRESHOLD_1_8)
			!= HAL_OK)
	{
		Error_Handler();
	}
	if (HAL_UARTEx_DisableFifoMode(&huart3) != HAL_OK)
	{
		Error_Handler();
	}

}

static void MX_DMA_Init(void)
{

	/* DMA controller clock enable */
	__HAL_RCC_DMA1_CLK_ENABLE();

	/* DMA interrupt init */
	/* DMA1_Stream0_IRQn interrupt configuration */
	HAL_NVIC_SetPriority(DMA1_Stream0_IRQn, 5, 0);
	HAL_NVIC_EnableIRQ(DMA1_Stream0_IRQn);
	/* DMA1_Stream1_IRQn interrupt configuration */
	HAL_NVIC_SetPriority(DMA1_Stream1_IRQn, 5, 0);
	HAL_NVIC_EnableIRQ(DMA1_Stream1_IRQn);
	/* DMA1_Stream2_IRQn interrupt configuration */
	HAL_NVIC_SetPriority(DMA1_Stream2_IRQn, 5, 0);
	HAL_NVIC_EnableIRQ(DMA1_Stream2_IRQn);
	/* DMA1_Stream3_IRQn interrupt configuration */
	HAL_NVIC_SetPriority(DMA1_Stream3_IRQn, 5, 0);
	HAL_NVIC_EnableIRQ(DMA1_Stream3_IRQn);
	/* DMA1_Stream4_IRQn interrupt configuration */
	HAL_NVIC_SetPriority(DMA1_Stream4_IRQn, 5, 0);
	HAL_NVIC_EnableIRQ(DMA1_Stream4_IRQn);

}

static void MX_GPIO_Init(void)
{
	GPIO_InitTypeDef GPIO_InitStruct =
	{ 0 };

	/* GPIO Ports Clock Enable */
	__HAL_RCC_GPIOC_CLK_ENABLE();
	__HAL_RCC_GPIOH_CLK_ENABLE();
	__HAL_RCC_GPIOA_CLK_ENABLE();
	__HAL_RCC_GPIOB_CLK_ENABLE();
	__HAL_RCC_GPIOD_CLK_ENABLE();

	/*Configure GPIO pin Output Level */
	HAL_GPIO_WritePin(GPIOC, GPIO_PIN_13, GPIO_PIN_RESET);

	/*Configure GPIO pin Output Level */
	HAL_GPIO_WritePin(GPIOD, GPIO_PIN_11, GPIO_PIN_RESET);

	/*Configure GPIO pin Output Level */
	HAL_GPIO_WritePin(GPIOB, GPIO_PIN_3, GPIO_PIN_RESET);

	/*Configure GPIO pin : PC13 */
	GPIO_InitStruct.Pin = GPIO_PIN_13;
	GPIO_InitStruct.Mode = GPIO_MODE_OUTPUT_PP;
	GPIO_InitStruct.Pull = GPIO_PULLUP;
	GPIO_InitStruct.Speed = GPIO_SPEED_FREQ_LOW;
	HAL_GPIO_Init(GPIOC, &GPIO_InitStruct);

	/*Configure GPIO pin : PD10 */
	GPIO_InitStruct.Pin = GPIO_PIN_10;
	GPIO_InitStruct.Mode = GPIO_MODE_INPUT;
	GPIO_InitStruct.Pull = GPIO_NOPULL;
	HAL_GPIO_Init(GPIOD, &GPIO_InitStruct);

	/*Configure GPIO pin : PD11 */
	GPIO_InitStruct.Pin = GPIO_PIN_11;
	GPIO_InitStruct.Mode = GPIO_MODE_OUTPUT_PP;
	GPIO_InitStruct.Pull = GPIO_NOPULL;
	GPIO_InitStruct.Speed = GPIO_SPEED_FREQ_LOW;
	HAL_GPIO_Init(GPIOD, &GPIO_InitStruct);

	/*Configure GPIO pin : PB3 */
	GPIO_InitStruct.Pin = GPIO_PIN_3;
	GPIO_InitStruct.Mode = GPIO_MODE_OUTPUT_PP;
	GPIO_InitStruct.Pull = GPIO_NOPULL;
	GPIO_InitStruct.Speed = GPIO_SPEED_FREQ_HIGH;
	HAL_GPIO_Init(GPIOB, &GPIO_InitStruct);

}

void CtrlTaskF(void const *argument)
{
	/* USER CODE BEGIN 5 */
	DownDataDef UptoBaseData =
	{ 0 };
	static MoveThruster Thurster;
	u8 Relay_filter = 0;
	u8 Relay_temp = 0;

	CaptureDownData();
	osDelay(200);
	//打开串口接收
	UptoBaseData = CaptureDownData();
	xSemaphoreGive(UptoBaseDataRWFlagHandle);
	osDelay(1);

	/* Infinite loop */
	for (;;)
	{
		if ((UptoBaseData.HeadOfData == 0x25)
				&& (UptoBaseData.EndOfData == 0x21))
		{
			if (Relay_filter >= 2) //滤波
			{
				HAL_GPIO_WritePin(GPIOD, GPIO_PIN_11, UptoBaseData.Relay); //PD11 继电�?????????
			}

			//根据数据进行控制
			Thurster = MoveControl(UptoBaseData.StraightNum,
					UptoBaseData.RotateNum, UptoBaseData.VerticalNum,
					UptoBaseData.Mode);

			SoftwarePwm_Control(UptoBaseData.LightPWM); //软PWM灯光

			if (CheckPwmValue(Thurster.HorizontalThruster[3]))
			{
				TIM4->CCR4 = Thurster.HorizontalThruster[3]; //PD15 J6
			}
			if (CheckPwmValue(Thurster.VerticalThruster[0]))
			{
				TIM2->CCR4 = Thurster.VerticalThruster[0]; //PB11 J8
			}
			if (CheckPwmValue(Thurster.HorizontalThruster[2]))
			{
				TIM2->CCR3 = Thurster.HorizontalThruster[2]; //PB10 J9
			}
			if (CheckPwmValue(Thurster.HorizontalThruster[0]))
			{
				TIM4->CCR1 = Thurster.HorizontalThruster[0]; //PD12 J2
			}
			if (CheckPwmValue(Thurster.VerticalThruster[1]))
			{
				TIM4->CCR3 = Thurster.VerticalThruster[1]; //PD14 J3
			}
			if (CheckPwmValue(Thurster.HorizontalThruster[1]))
			{
				TIM4->CCR2 = Thurster.HorizontalThruster[1]; //PD13 J5
			}

			if (CheckPwmValue(UptoBaseData.ArmPWM[5]))
			{
				TIM2->CCR1 = UptoBaseData.ArmPWM[5]; //PA5机械臂6（预留）
			}
			if (CheckPwmValue(UptoBaseData.ArmPWM[0]))
			{
				TIM1->CCR1 = UptoBaseData.ArmPWM[0]; //PA8机械臂1
			}
			if (CheckPwmValue(UptoBaseData.ArmPWM[1]))
			{
				TIM3->CCR4 = UptoBaseData.ArmPWM[1]; //PB1机械臂2
			}
			if (CheckPwmValue(UptoBaseData.ArmPWM[2]))
			{
				TIM3->CCR3 = UptoBaseData.ArmPWM[2]; //PB0机械臂3
			}
			if (CheckPwmValue(UptoBaseData.THPWM))
			{
				TIM5->CCR1 = UptoBaseData.THPWM; //PA0云台
			}
			if (CheckPwmValue(UptoBaseData.ArmPWM[3]))
			{
				TIM3->CCR2 = UptoBaseData.ArmPWM[3]; //PA7机械臂4
			}
			if (CheckPwmValue(UptoBaseData.TranspPWM))
			{
				TIM5->CCR4 = UptoBaseData.TranspPWM; //PA3传送带
			}
			if (CheckPwmValue(UptoBaseData.ArmPWM[4]))
			{
				TIM5->CCR3 = UptoBaseData.ArmPWM[4]; //PA2机械臂5
			}
			if (CheckPwmValue(UptoBaseData.ResPWM))
			{
				TIM5->CCR2 = UptoBaseData.ResPWM; //PA1预留PWM
			}
		}

		if (xSemaphoreTake(UptoBaseTransFinishHandle,
				0) == pdTRUE)
		{
			if (xSemaphoreTake(UptoBaseDataRWFlagHandle,
					portTICK_PERIOD_MS) == pdTRUE)
			{
				//接收下传数据
				UptoBaseData = CaptureDownData();
				HAL_GPIO_TogglePin(GPIOC, GPIO_PIN_13);

				if (UptoBaseData.Relay == Relay_temp) //继电器保持原来的值
				{
					Relay_filter++; //累计变化
					if (Relay_filter >= 2)
					{
						Relay_filter = 2;
					}
				}
				else //继电器变化
				{
					Relay_filter = 0;
					Relay_temp = UptoBaseData.Relay; //暂存新值
				}

				xSemaphoreGive(UptoBaseDataRWFlagHandle);
			}
		}

		HAL_IWDG_Refresh(&hiwdg1);
	}
	/* USER CODE END 5 */
}

void SensorTaskF(void const *argument)
{
	/* USER CODE BEGIN SensorTaskF */
	//Finish:二进制信号量，串口传输结束位
	//RWFlag:互斥信号量，读写保护�????????????
	InitGY39();
	ReceiveGY39();
	ReceiveWT931();
	osDelay(200);
	GY39SensorData = ReceiveGY39();
	WT931SensorData = ReceiveWT931();
	xSemaphoreGive(GY39SensorDataRWFlagHandle);
	xSemaphoreGive(WT931SensorDataRWFlagHandle);
	/* Infinite loop */
	for (;;)
	{
		if (xSemaphoreTake(WT931TransFinishHandle,
				0) == pdTRUE)
		{
			if (xSemaphoreTake(WT931SensorDataRWFlagHandle,
					portTICK_PERIOD_MS) == pdTRUE)
			{
				WT931SensorData = ReceiveWT931();
				xSemaphoreGive(WT931SensorDataRWFlagHandle);
			}
		}
		if (xSemaphoreTake(GY39TransFinishHandle,
				0) == pdTRUE)
		{
			if (xSemaphoreTake(GY39SensorDataRWFlagHandle,
					portTICK_PERIOD_MS) == pdTRUE)
			{
				GY39SensorData = ReceiveGY39();
				xSemaphoreGive(GY39SensorDataRWFlagHandle);
			}
		}
		HAL_IWDG_Refresh(&hiwdg1);
	}
	/* USER CODE END SensorTaskF */
}

void BtUF(void const *argument)
{
	/* USER CODE BEGIN BtUF */
	UpDataDef BasetoUpData;
	/* Infinite loop */
	for (;;)
	{
		if (xSemaphoreTake(BasetoUpDataRWFlagHandle,
				portTICK_PERIOD_MS) == pdTRUE)
		{
			//汇�?�传感器数据并上�???????????
			BasetoUpData.CabinNum = 0b0001;
			BasetoUpData.WaterDetect = HAL_GPIO_ReadPin(GPIOD, GPIO_PIN_10)
					<< 1;

			if (xSemaphoreTake(WT931SensorDataRWFlagHandle,
					portTICK_PERIOD_MS) == pdTRUE)
			{
				BasetoUpData.AccNum[0] = WT931SensorData.AccNum[0];
				BasetoUpData.AccNum[1] = WT931SensorData.AccNum[1];
				BasetoUpData.AccNum[2] = WT931SensorData.AccNum[2];
				BasetoUpData.RotNum[0] = WT931SensorData.RotNum[0];
				BasetoUpData.RotNum[1] = WT931SensorData.RotNum[1];
				BasetoUpData.RotNum[2] = WT931SensorData.RotNum[2];
				BasetoUpData.EulNum[0] = WT931SensorData.EulNum[0];
				BasetoUpData.EulNum[1] = WT931SensorData.EulNum[1];
				BasetoUpData.EulNum[2] = WT931SensorData.EulNum[2];
				BasetoUpData.MagNum[0] = WT931SensorData.MagNum[0];
				BasetoUpData.MagNum[1] = WT931SensorData.MagNum[1];
				BasetoUpData.MagNum[2] = WT931SensorData.MagNum[2];
				xSemaphoreGive(WT931SensorDataRWFlagHandle);
			}
			if (xSemaphoreTake(GY39SensorDataRWFlagHandle,
					portTICK_PERIOD_MS) == pdTRUE)
			{
				BasetoUpData.CabinBaro = GY39SensorData.Baro;
				BasetoUpData.CabinHum = GY39SensorData.Hum;
				BasetoUpData.CabinTemperature = GY39SensorData.Temperature;
				xSemaphoreGive(GY39SensorDataRWFlagHandle);
			}
			//发�?�上传数�????
			SendUpData(BasetoUpData);
			xSemaphoreGive(BasetoUpDataRWFlagHandle);
		}
		HAL_IWDG_Refresh(&hiwdg1);
	}
	/* USER CODE END BtUF */
}

void EmptyTaskF(void const *argument)
{
	/* USER CODE BEGIN EmptyTaskF */
	/* Infinite loop */
	for (;;)
	{
		HAL_IWDG_Refresh(&hiwdg1);
		osDelay(1);
	}
	/* USER CODE END EmptyTaskF */
}

void HAL_TIM_PeriodElapsedCallback(TIM_HandleTypeDef *htim)
{
	if (htim->Instance == TIM6)
	{
		HAL_IncTick();
	}
}

void Error_Handler(void)
{
	__disable_irq();
	while (1)
	{
	}
}

/************************ (C) COPYRIGHT STMicroelectronics *****END OF FILE****/
